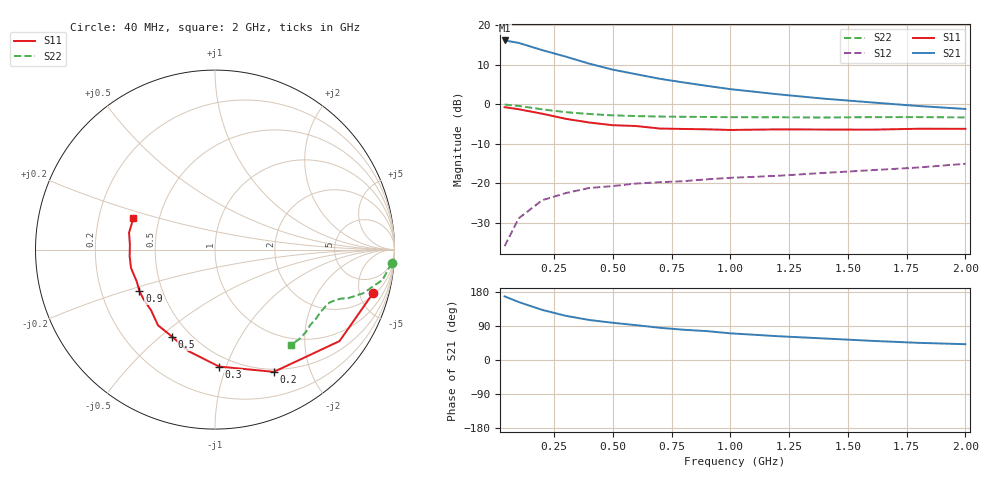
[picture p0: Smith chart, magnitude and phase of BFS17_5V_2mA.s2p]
! Filename:  BFS17A.S2P  Version:  2.0
! Philips part #: BFS17  Date: Jun 1990
! Bias condition: Vce=5V, Ic=2mA
#  MHz  S  MA  R  50
! Freq  S11  S21  S12  S22  !GUM [dB]
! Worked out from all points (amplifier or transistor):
!   16 points, 40 MHz to 2 GHz, reference 50 ohm
!   highest |S21| = 16.1 dB at 40 MHz (marker M1)
!   |S21| within 3 dB of that: start of sweep to 233.8 MHz
!   unconditionally stable (mu >= 1): 952.4 MHz to end of sweep
!   at 200 MHz: K = 0.33, MSG = 19.0 dB, |S12| = -24.3 dB
!   at 800 MHz: K = 0.93, MSG = 12.5 dB, |S12| = -19.5 dB
!   at 2 GHz: K = 1.09, MAG = 5.1 dB, |S12| = -15.1 dB
!   S11 on the Smith chart (normalised r, x): 40 MHz: 2.28, -6.68; 200 MHz: 0.47, -1.49; 300 MHz: 0.42, -0.94; 500 MHz: 0.40, -0.55; 900 MHz: 0.37, -0.22; 2 GHz: 0.36, +0.16
40  0.914 -15.3  6.375 167.9  0.016 78.2  0.987 -4.4
100  0.861 -36.3  5.939 153.0  0.036 70.7  0.948 -10.3
200  0.756 -64.3  4.811 132.2  0.061 57.6  0.859 -16.5
300  0.652 -88.0  3.983 116.6  0.075 51.1  0.79 -20.0
400  0.585 -104.6  3.245 105.6  0.087 48.4  0.75 -21.4
500  0.541 -116.1  2.725 98.2  0.092 47.0  0.72 -23.4
600  0.528 -127.0  2.386 91.9  0.099 46.8  0.706 -24.5
700  0.491 -136.5  2.089 85.0  0.103 46.6  0.696 -26.1
800  0.485 -145.1  1.879 79.9  0.106 48.6  0.691 -27.4
900  0.48 -151.4  1.701 76.2  0.112 49.5  0.688 -28.9
1000  0.471 -157.6  1.546 70.4  0.117 51.0  0.683 -30.5
1200  0.479 -167.7  1.333 62.9  0.124 54.2  0.682 -34.2
1400  0.477 -175.5  1.17 56.8  0.135 57.5  0.677 -38.3
1600  0.475 176.6  1.051 50.6  0.146 61.7  0.684 -42.4
1800  0.488 168.9  0.946 45.3  0.158 66.4  0.685 -46.7
2000  0.487 159.0  0.868 41.7  0.176 69.5  0.679 -51.3
